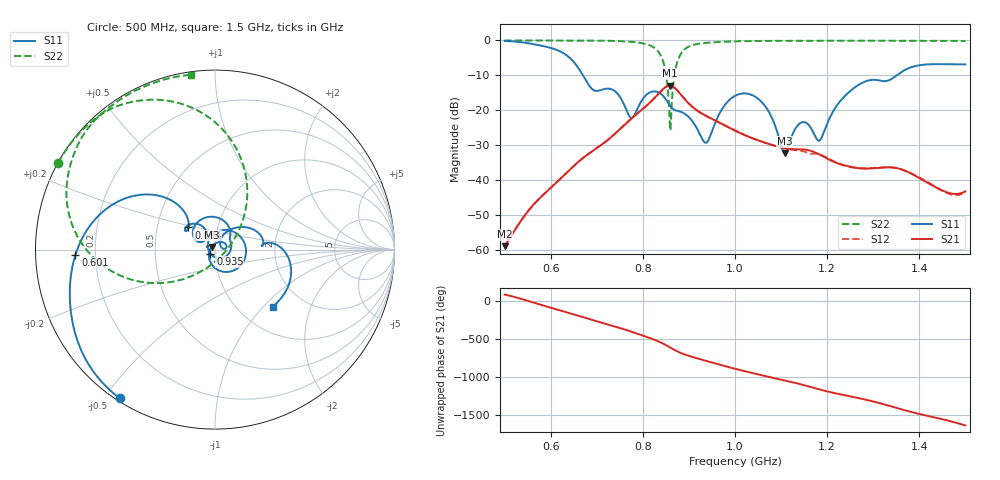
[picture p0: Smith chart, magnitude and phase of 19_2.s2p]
! TOUCHSTONE file generated by CST MICROWAVE STUDIO
! Date and time: Fri Oct  2 16:30:15 2020
! Project name: Scenario_1_Free_Space_out_of_line.cst
! Parameters = {Lambda=346.42; Step_1=17.321; dy1=35.502; dx1=346; L_HA=400; MT=2.54; Rad_Dielectric=30; Rad_Lower=7.3; Rad_Upper=30; a_HA=580; a_WG=246; b_HA=500; b_WG=121; c_HA=0; c_WG=187; d_feed=85; h_feed=15; h_lower=18; h_upper=40}
! Header version: 2018
! Port assignment regex: !\s*Touchstone port\s*([0-9]+)\s*=\s*(CST MWS port|CST DS port)\s*([0-9]+|Zmin|Zmax)\s*\(\"(.*)\"\)(\s*mode\s*([0-9]+))?.*
! Touchstone port assignment:
! Touchstone port 1 = CST MWS port 1 ("")
! Touchstone port 2 = CST MWS port 2 ("")
# GHz S DB R 50
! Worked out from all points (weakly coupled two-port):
!   1003 points, 500 MHz to 1.5 GHz, reference 50 ohm
!   highest |S21| = -12.94 dB at 858 MHz (marker M1); lowest = -59.0 dB at 500 MHz (marker M2)
!   lowest |S11| = -32.4 dB at 1.108 GHz (marker M3), VSWR 1.05, Z = 48.1 + j1.36 ohm
!   |S11| at or under -10 dB: 670 MHz to 1.351 GHz (680.9 MHz wide, 67.4 % of centre)
!   |S22| runs from -25.7 to 0.0 dB; largest |S21 - S12| = 0.0046
!   S11 on the Smith chart (normalised r, x): 500 MHz: 0.01, -0.55; 601 MHz: 0.12, -0.02; 694 MHz: 0.72, +0.18; 935 MHz: 0.95, -0.04; 1.5 GHz: 1.42, -1.13
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0.5  -0.14 -122.7  -58.97 80.2  -58.98 80.2  -0.01 151.1
0.601  -2.18 -177.8  -42.16 -93.5  -42.16 -93.5  -0.02 143.9
0.667  -9.34 130.4  -34.04 149.7  -34.03 149.7  -0.04 138.2
0.694  -14.31 140.3  -31.43 100.3  -31.43 100.3  -0.06 135.4
0.738  -14.41 130.8  -26.93 24.3  -26.93 24.3  -0.15 129.3
0.775  -22.24 135.5  -22.42 -46.1  -22.42 -46.1  -0.40 121.5
0.834  -14.90 87.3  -15.28 -175.2  -15.28 -175.2  -3.28 87.7
0.848  -16.53 59.2  -13.50 144.0  -13.51 144.0  -8.03 63.2
0.858  -18.50 44.3  -12.94 110.0  -12.95 110.0  -22.20 9.6
0.863  -19.34 39.7  -13.07 92.6  -13.07 92.6  -17.47 -120.2
0.868  -19.87 35.7  -13.47 75.7  -13.47 75.7  -10.45 -143.2
0.882  -20.45 17.9  -15.45 35.1  -15.45 35.1  -3.95 -172.3
0.935  -29.29 -137.4  -21.47 -65.6  -21.47 -65.6  -0.72 152.5
1  -15.89 24.2  -25.83 -173.0  -25.83 -173.0  -0.27 140.2
1.06  -17.96 -73.4  -29.09 99.0  -29.09 99.0  -0.15 133.3
1.108  -32.37 144.0  -30.91 32.9  -30.94 33.0  -0.11 128.9
1.14  -23.86 34.5  -31.20 -12.1  -31.57 -7.1  -0.11 126.2
1.167  -25.62 4.2  -31.74 -57.3  -32.51 -52.3  -0.10 124.1
1.183  -28.72 30.9  -32.68 -84.0  -32.64 -83.9  -0.10 122.8
1.266  -12.93 32.4  -36.59 165.6  -36.58 165.6  -0.08 116.5
1.334  -11.43 6.4  -36.35 62.4  -36.35 62.4  -0.09 111.4
1.5  -6.88 -44.7  -43.26 163.5  -43.27 163.5  -0.15 97.8
